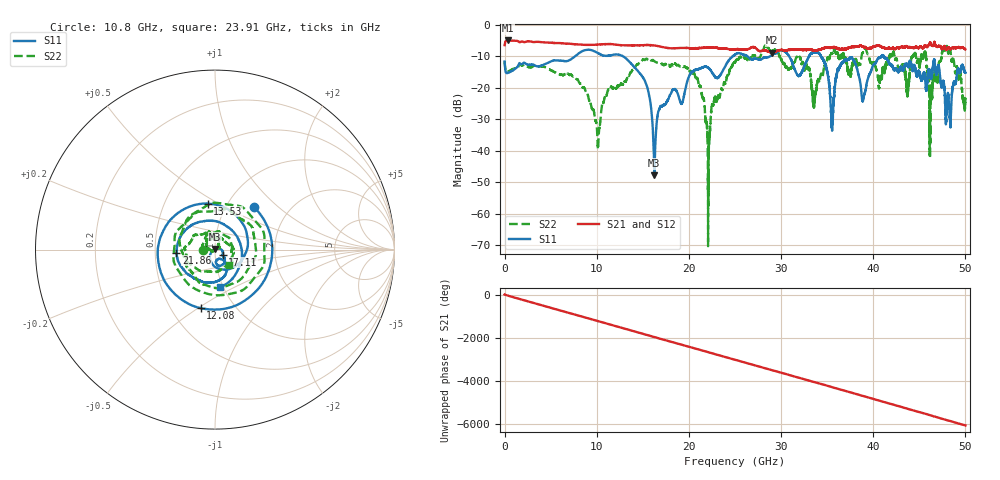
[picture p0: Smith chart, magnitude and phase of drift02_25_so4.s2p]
!Created with skrf (http://scikit-rf.org).
# Hz S RI R 50.0
!freq ReS11 ImS11 ReS21 ImS21 ReS12 ImS12 ReS22 ImS22
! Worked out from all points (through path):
!   10001 points, 300 kHz to 50 GHz, reference 50 ohm
!   highest |S21| = -5.04 dB at 325.3 MHz (marker M1); lowest = -8.9 dB at 28.98 GHz (marker M2)
!   group delay of S21, straight-line fit = 336 ps
!   lowest |S11| = -47.8 dB at 16.25 GHz (marker M3), VSWR 1.01, Z = 49.8 + j0.357 ohm
!   |S11| at or under -10 dB: start of sweep to 7.668 GHz; 12.82 GHz to 24.78 GHz (11.96 GHz wide, 63.6 % of centre); 41.13 GHz to end of sweep (the widest 3 of 13)
!   |S22| runs from -70.3 to -6.7 dB; largest |S21 - S12| = 0.033
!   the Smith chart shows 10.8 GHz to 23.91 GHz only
!   S11 on the Smith chart (normalised r, x): 10.8 GHz: 1.35, +0.71; 12.08 GHz: 0.70, -0.51; 13.53 GHz: 0.81, +0.45; 17.11 GHz: 1.09, -0.06; 21.86 GHz: 0.65, -0.02; 23.91 GHz: 0.97, -0.43
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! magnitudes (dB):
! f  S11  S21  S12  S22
! 300 kHz  -11.7  -6.5  -6.5  -11.6
! 325.3 MHz  -15.3  -5.0  -5.0  -15.1
! 8.335 GHz  -8.6  -6.4  -6.4  -19.1
! 10.11 GHz  -9.0  -6.3  -6.3  -38.3
! 10.8 GHz  -9.9  -6.2  -6.2  -23.8
! 12.08 GHz  -9.5  -6.4  -6.4  -20.3
! 13.53 GHz  -11.7  -6.6  -6.6  -16.1
! 16.25 GHz  -47.8  -6.6  -6.6  -11.7
! 16.67 GHz  -27.7  -6.8  -6.8  -12.2
! 17.11 GHz  -25.9  -7.1  -7.1  -12.5
! 20.73 GHz  -14.3  -7.5  -7.5  -16.9
! 21.86 GHz  -13.3  -7.3  -7.4  -30.9
! 23.91 GHz  -13.4  -7.6  -7.6  -18.6
! 25 GHz  -9.6  -7.8  -7.9  -11.9
! 28.98 GHz  -9.8  -8.9  -8.9  -8.1
! 33.34 GHz  -9.1  -8.0  -8.0  -20.5
! 35.53 GHz  -31.8  -7.3  -7.3  -9.2
! 36.8 GHz  -11.7  -7.8  -7.8  -10.0
! 41.67 GHz  -12.0  -7.4  -7.6  -11.5
! 46.24 GHz  -16.6  -5.9  -6.0  -23.2
! 48.13 GHz  -22.3  -7.2  -7.1  -8.8
! 50 GHz  -15.2  -7.9  -7.9  -24.1
